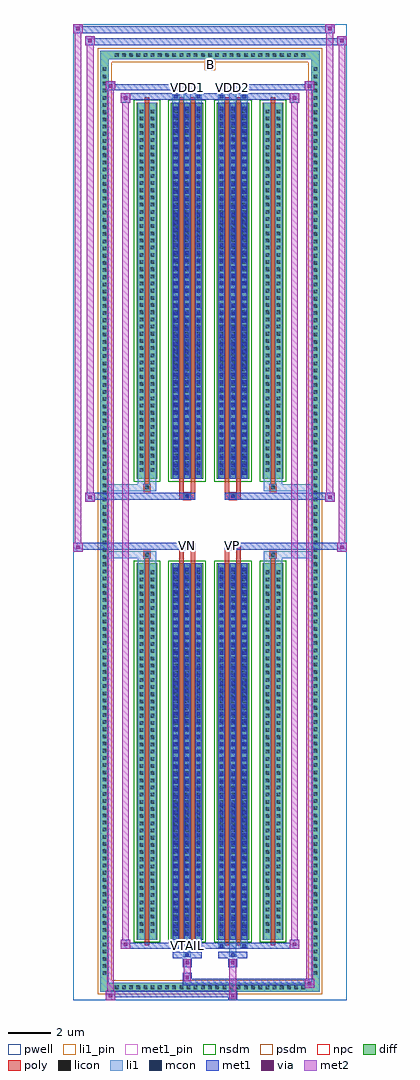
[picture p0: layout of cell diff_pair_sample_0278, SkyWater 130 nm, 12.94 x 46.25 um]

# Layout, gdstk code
import gdstk
lib = gdstk.Library(unit=1e-6, precision=5e-09)
def R(c, l, rs):  # rectangles x0, y0, x1, y1
    for r in rs: c.add(gdstk.rectangle(r[:2], r[2:], *l))
def A(c, l, x, y, w, h, nx, ny, dx, dy):  # array of equal rectangles
    R(c, l, [(x+i*dx, y+j*dy, x+i*dx+w, y+j*dy+h) for i in range(nx) for j in range(ny)])
def P(c, l, *ps):  # polygons
    for p in ps: c.add(gdstk.Polygon(p, *l))
pwell = (64, 44)
diff = (65, 20)
poly = (66, 20)
licon = (66, 44)
li1_pin = (67, 16)
li1 = (67, 20)
mcon = (67, 44)
met1_pin = (68, 16)
met1 = (68, 20)
via = (68, 44)
met2 = (69, 20)
nsdm = (93, 44)
psdm = (94, 20)
npc = (95, 20)

diff_pair_sample_0278 = lib.new_cell('diff_pair_sample_0278')
R(diff_pair_sample_0278, pwell, [(-6.47,-22.69,6.47,23.56), (-3.79,-20.88,-0.01,-0.82), (0.01,-20.88,3.79,-0.82), (-3.79,0.82,-0.01,20.88), (0.01,0.82,3.79,20.88)])
A(diff_pair_sample_0278, diff, -4.625, -22.29, 0.41, 0.41, 27, 2, 0.34, 44.17)
A(diff_pair_sample_0278, diff, -5.2, -21.625, 0.41, 0.41, 1, 127, 0, 0.34)
A(diff_pair_sample_0278, diff, 4.79, -21.625, 0.41, 0.41, 1, 127, 0, 0.34)
R(diff_pair_sample_0278, diff, [(-4.625,-22.29,4.625,-21.88), (-5.2,-21.625,-4.79,21.625), (4.79,-21.625,5.2,21.625), (-3.48,-19.835,-2.49,-2.005), (-1.85,-19.835,-0.32,-2.005), (0.32,-19.835,1.85,-2.005), (2.49,-19.835,3.48,-2.005), (-3.48,2.005,-2.49,19.835), (-1.85,2.005,-0.32,19.835), (0.32,2.005,1.85,19.835), (2.49,2.005,3.48,19.835), (-4.625,21.88,4.625,22.29)])
P(diff_pair_sample_0278, diff, [(5.2,22.29),(-5.2,22.29),(-5.2,-21.88),(-4.79,-21.88),(-4.79,21.88),(4.79,21.88),(4.79,-21.88),(-4.79,-21.88),(-5.2,-21.88),(-5.2,-22.29),(5.2,-22.29)])
R(diff_pair_sample_0278, poly, [(-3.09,-20.085,-2.88,-1.755), (-1.46,-20.085,-1.25,-1.755), (-0.92,-20.085,-0.71,-1.755), (0.71,-20.085,0.92,-1.755), (1.25,-20.085,1.46,-1.755), (2.88,-20.085,3.09,-1.755), (-3.15,-1.755,-2.82,-1.425), (-3.15,-1.755,-2.82,-1.425), (-1.46,-1.755,-1.25,-1.35), (-0.92,-1.755,-0.71,-1.35), (0.71,-1.755,0.92,-1.35), (1.25,-1.755,1.46,-1.35), (2.82,-1.755,3.15,-1.425), (2.82,-1.755,3.15,-1.425), (-1.46,-1.35,-0.71,-1.02), (-1.25,-1.35,-0.92,-1.02), (0.71,-1.35,1.46,-1.02), (0.92,-1.35,1.25,-1.02), (-1.46,1.02,-0.71,1.35), (-1.25,1.02,-0.92,1.35), (0.71,1.02,1.46,1.35), (0.92,1.02,1.25,1.35), (-1.46,1.35,-1.25,1.755), (-0.92,1.35,-0.71,1.755), (0.71,1.35,0.92,1.755), (1.25,1.35,1.46,1.755), (-3.15,1.425,-2.82,1.755), (-3.15,1.425,-2.82,1.755), (2.82,1.425,3.15,1.755), (2.82,1.425,3.15,1.755), (-3.09,1.755,-2.88,20.085), (-1.46,1.755,-1.25,20.085), (-0.92,1.755,-0.71,20.085), (0.71,1.755,0.92,20.085), (1.25,1.755,1.46,20.085), (2.88,1.755,3.09,20.085)])
A(diff_pair_sample_0278, licon, -4.505, -22.17, 0.17, 0.17, 27, 2, 0.34, 44.17)
A(diff_pair_sample_0278, licon, -5.08, -21.505, 0.17, 0.17, 1, 127, 0, 0.34)
A(diff_pair_sample_0278, licon, 4.91, -21.505, 0.17, 0.17, 1, 127, 0, 0.34)
A(diff_pair_sample_0278, licon, -3.34, -19.505, 0.17, 0.17, 1, 51, 0, 0.34)
A(diff_pair_sample_0278, licon, -2.8, -19.505, 0.17, 0.17, 1, 51, 0, 0.34)
A(diff_pair_sample_0278, licon, -1.71, -19.505, 0.17, 0.17, 3, 51, 0.54, 0.34)
A(diff_pair_sample_0278, licon, 0.46, -19.505, 0.17, 0.17, 3, 51, 0.54, 0.34)
A(diff_pair_sample_0278, licon, 2.63, -19.505, 0.17, 0.17, 1, 51, 0, 0.34)
A(diff_pair_sample_0278, licon, 3.17, -19.505, 0.17, 0.17, 1, 51, 0, 0.34)
A(diff_pair_sample_0278, licon, -3.34, 2.335, 0.17, 0.17, 1, 51, 0, 0.34)
A(diff_pair_sample_0278, licon, -2.8, 2.335, 0.17, 0.17, 1, 51, 0, 0.34)
A(diff_pair_sample_0278, licon, -1.71, 2.335, 0.17, 0.17, 3, 51, 0.54, 0.34)
A(diff_pair_sample_0278, licon, 0.46, 2.335, 0.17, 0.17, 3, 51, 0.54, 0.34)
A(diff_pair_sample_0278, licon, 2.63, 2.335, 0.17, 0.17, 1, 51, 0, 0.34)
A(diff_pair_sample_0278, licon, 3.17, 2.335, 0.17, 0.17, 1, 51, 0, 0.34)
R(diff_pair_sample_0278, licon, [(-3.07,-1.675,-2.9,-1.505), (2.9,-1.675,3.07,-1.505), (-1.17,-1.27,-1,-1.1), (1,-1.27,1.17,-1.1), (-1.17,1.1,-1,1.27), (1,1.1,1.17,1.27), (-3.07,1.505,-2.9,1.675), (2.9,1.505,3.07,1.675)])
R(diff_pair_sample_0278, li1_pin, [(-0.25,21.38,0.25,21.88)])
A(diff_pair_sample_0278, li1, -4.585, -22.25, 0.33, 0.33, 27, 2, 0.34, 44.17)
A(diff_pair_sample_0278, li1, -5.16, -21.585, 0.33, 0.33, 1, 127, 0, 0.34)
A(diff_pair_sample_0278, li1, 4.83, -21.585, 0.33, 0.33, 1, 127, 0, 0.34)
A(diff_pair_sample_0278, li1, -1.79, -19.835, 0.33, 17.83, 3, 2, 0.54, 21.84)
A(diff_pair_sample_0278, li1, 0.38, -19.835, 0.33, 17.83, 3, 2, 0.54, 21.84)
A(diff_pair_sample_0278, li1, -1.71, -19.645, 0.17, 0.17, 3, 49, 0.54, 0.36)
A(diff_pair_sample_0278, li1, -1.71, -19.645, 0.17, 17.45, 3, 2, 0.54, 21.84)
A(diff_pair_sample_0278, li1, 0.46, -19.645, 0.17, 0.17, 3, 49, 0.54, 0.36)
A(diff_pair_sample_0278, li1, 0.46, -19.645, 0.17, 17.45, 3, 2, 0.54, 21.84)
A(diff_pair_sample_0278, li1, -3.42, -19.585, 0.33, 0.33, 1, 51, 0, 0.34)
A(diff_pair_sample_0278, li1, -2.88, -19.585, 0.33, 0.33, 1, 51, 0, 0.34)
A(diff_pair_sample_0278, li1, -1.79, -19.585, 0.33, 0.33, 3, 51, 0.54, 0.34)
A(diff_pair_sample_0278, li1, 0.38, -19.585, 0.33, 0.33, 3, 51, 0.54, 0.34)
A(diff_pair_sample_0278, li1, 2.55, -19.585, 0.33, 0.33, 1, 51, 0, 0.34)
A(diff_pair_sample_0278, li1, 3.09, -19.585, 0.33, 0.33, 1, 51, 0, 0.34)
A(diff_pair_sample_0278, li1, -1.71, 2.195, 0.17, 0.17, 3, 49, 0.54, 0.36)
A(diff_pair_sample_0278, li1, 0.46, 2.195, 0.17, 0.17, 3, 49, 0.54, 0.36)
A(diff_pair_sample_0278, li1, -3.42, 2.255, 0.33, 0.33, 1, 51, 0, 0.34)
A(diff_pair_sample_0278, li1, -2.88, 2.255, 0.33, 0.33, 1, 51, 0, 0.34)
A(diff_pair_sample_0278, li1, -1.79, 2.255, 0.33, 0.33, 3, 51, 0.54, 0.34)
A(diff_pair_sample_0278, li1, 0.38, 2.255, 0.33, 0.33, 3, 51, 0.54, 0.34)
A(diff_pair_sample_0278, li1, 2.55, 2.255, 0.33, 0.33, 1, 51, 0, 0.34)
A(diff_pair_sample_0278, li1, 3.09, 2.255, 0.33, 0.33, 1, 51, 0, 0.34)
R(diff_pair_sample_0278, li1, [(-5.2,-22.29,-4.79,-21.88), (-5.2,-22.29,-4.79,-21.88), (-4.79,-22.29,4.79,-21.88), (4.79,-22.29,5.2,-21.88), (4.79,-22.29,5.2,-21.88), (-5.2,-21.88,-4.79,21.88), (4.79,-21.88,5.2,21.88), (-1.25,-20.64,-0.92,-19.835), (-1.17,-20.64,-1,-20.47), (0.92,-20.64,1.25,-19.835), (1,-20.64,1.17,-20.47), (-1.79,-20.21,-1.46,-19.835), (-1.71,-20.21,-1.54,-20.04), (-0.71,-20.21,-0.38,-19.835), (-0.63,-20.21,-0.46,-20.04), (0.38,-20.21,0.71,-19.835), (0.46,-20.21,0.63,-20.04), (1.46,-20.21,1.79,-19.835), (1.54,-20.21,1.71,-20.04), (-3.42,-19.835,-3.09,-2.005), (-2.88,-19.835,-2.55,-2.005), (2.55,-19.835,2.88,-2.005), (3.09,-19.835,3.42,-2.005), (-3.42,-2.005,-3.09,-1.425), (-2.88,-2.005,-2.55,-1.425), (2.55,-2.005,2.88,-1.425), (3.09,-2.005,3.42,-1.425), (-5.2,-1.755,-3.15,-1.425), (-3.42,-1.755,-3.15,-1.425), (-3.15,-1.755,-2.82,-1.425), (-2.82,-1.755,-2.55,-1.425), (2.55,-1.755,2.82,-1.425), (2.82,-1.755,3.15,-1.425), (2.82,-1.755,5.2,-1.425), (3.15,-1.755,3.42,-1.425), (-1.25,-1.35,-0.92,-1.02), (0.92,-1.35,1.25,-1.02), (-1.25,1.02,-0.92,1.35), (0.92,1.02,1.25,1.35), (-5.2,1.425,-3.15,1.755), (-3.42,1.425,-3.15,1.755), (-3.42,1.425,-3.09,2.005), (-3.15,1.425,-2.82,1.755), (-2.88,1.425,-2.55,2.005), (-2.82,1.425,-2.55,1.755), (2.55,1.425,2.82,1.755), (2.55,1.425,2.88,2.005), (2.82,1.425,3.15,1.755), (2.82,1.425,5.2,1.755), (3.09,1.425,3.42,2.005), (3.15,1.425,3.42,1.755), (-3.42,2.005,-3.09,19.835), (-2.88,2.005,-2.55,19.835), (2.55,2.005,2.88,19.835), (3.09,2.005,3.42,19.835), (-1.79,19.835,-1.46,20.21), (-1.25,19.835,-0.92,20.64), (-0.71,19.835,-0.38,20.21), (0.38,19.835,0.71,20.21), (0.92,19.835,1.25,20.64), (1.46,19.835,1.79,20.21), (-1.71,20.04,-1.54,20.21), (-0.63,20.04,-0.46,20.21), (0.46,20.04,0.63,20.21), (1.54,20.04,1.71,20.21), (-1.17,20.47,-1,20.64), (1,20.47,1.17,20.64), (-5.2,21.88,-4.79,22.29), (-5.2,21.88,-4.79,22.29), (-4.79,21.88,4.79,22.29), (4.79,21.88,5.2,22.29), (4.79,21.88,5.2,22.29)])
A(diff_pair_sample_0278, mcon, -1.71, -19.645, 0.17, 0.17, 3, 49, 0.54, 0.36)
A(diff_pair_sample_0278, mcon, 0.46, -19.645, 0.17, 0.17, 3, 49, 0.54, 0.36)
A(diff_pair_sample_0278, mcon, -1.71, 2.195, 0.17, 0.17, 3, 49, 0.54, 0.36)
A(diff_pair_sample_0278, mcon, 0.46, 2.195, 0.17, 0.17, 3, 49, 0.54, 0.36)
R(diff_pair_sample_0278, mcon, [(-1.17,-20.64,-1,-20.47), (1,-20.64,1.17,-20.47), (-1.71,-20.21,-1.54,-20.04), (-0.63,-20.21,-0.46,-20.04), (0.46,-20.21,0.63,-20.04), (1.54,-20.21,1.71,-20.04), (-1.17,-1.27,-1,-1.1), (1,-1.27,1.17,-1.1), (-1.17,1.1,-1,1.27), (1,1.1,1.17,1.27), (-1.71,20.04,-1.54,20.21), (-0.63,20.04,-0.46,20.21), (0.46,20.04,0.63,20.21), (1.54,20.04,1.71,20.21), (-1.17,20.47,-1,20.64), (1,20.47,1.17,20.64)])
R(diff_pair_sample_0278, met1_pin, [(-1.22,-20.25,-0.95,-19.98), (-1.22,-1.29,-0.95,-1.02), (0.95,-1.29,1.22,-1.02), (-1.22,20.43,-0.95,20.7), (0.95,20.43,1.22,20.7)])
A(diff_pair_sample_0278, met1, -1.77, -19.835, 0.29, 17.83, 3, 2, 0.54, 21.84)
A(diff_pair_sample_0278, met1, 0.4, -19.835, 0.29, 17.83, 3, 2, 0.54, 21.84)
A(diff_pair_sample_0278, met1, -1.77, -19.705, 0.29, 0.29, 3, 49, 0.54, 0.36)
A(diff_pair_sample_0278, met1, 0.4, -19.705, 0.29, 0.29, 3, 49, 0.54, 0.36)
A(diff_pair_sample_0278, met1, -1.77, 2.135, 0.29, 0.29, 3, 49, 0.54, 0.36)
A(diff_pair_sample_0278, met1, 0.4, 2.135, 0.29, 0.29, 3, 49, 0.54, 0.36)
R(diff_pair_sample_0278, met1, [(-4.93,-22.69,-4.5,-22.26), (0.87,-22.69,1.3,-22.26), (-4.93,-22.55,1.3,-22.26), (4.5,-22.12,4.93,-21.69), (-1.3,-21.98,4.93,-21.69), (-1.3,-21.84,-0.87,-21.41), (-1.3,-21.13,-0.87,-20.7), (0.87,-21.13,1.3,-20.7), (-1.77,-20.7,-0.4,-20.41), (-1.23,-20.7,-0.94,-20.41), (0.4,-20.7,1.77,-20.41), (0.94,-20.7,1.23,-20.41), (-4.22,-20.27,-3.79,-19.84), (-4.22,-20.27,-1.77,-19.98), (-1.77,-20.27,-1.48,-19.98), (-1.77,-20.27,-0.4,-19.98), (-0.69,-20.27,-0.4,-19.98), (-0.4,-20.27,0.4,-19.98), (0.4,-20.27,0.69,-19.98), (0.4,-20.27,1.77,-19.98), (1.48,-20.27,1.77,-19.98), (1.77,-20.27,4.22,-19.98), (3.79,-20.27,4.22,-19.84), (-6.47,-1.45,-6.04,-1.02), (6.04,-1.45,6.47,-1.02), (-6.47,-1.35,-0.71,-1.02), (-1.46,-1.35,-0.71,-1.02), (0.71,-1.35,1.46,-1.02), (0.71,-1.35,6.47,-1.02), (-1.23,-1.33,-0.94,-1.04), (0.94,-1.33,1.23,-1.04), (-5.9,0.92,-5.47,1.35), (5.47,0.92,5.9,1.35), (-5.9,1.02,-1.46,1.35), (-1.46,1.02,-0.71,1.35), (0.71,1.02,1.46,1.35), (1.46,1.02,5.9,1.35), (-1.23,1.04,-0.94,1.33), (0.94,1.04,1.23,1.33), (-4.22,19.84,-3.79,20.27), (3.79,19.84,4.22,20.27), (-4.22,19.98,-1.77,20.27), (-1.77,19.98,-1.48,20.27), (-1.77,19.98,-0.4,20.27), (-0.69,19.98,-0.4,20.27), (-0.4,19.98,0.4,20.27), (0.4,19.98,0.69,20.27), (0.4,19.98,1.77,20.27), (1.48,19.98,1.77,20.27), (1.77,19.98,4.22,20.27), (-4.93,20.41,-4.5,20.84), (-4.93,20.41,-1.77,20.7), (-1.77,20.41,-0.4,20.7), (-1.23,20.41,-0.94,20.7), (0.4,20.41,1.77,20.7), (0.94,20.41,1.23,20.7), (1.77,20.41,4.93,20.7), (4.5,20.41,4.93,20.84), (-5.9,22.56,-5.47,22.99), (-5.9,22.56,-3.79,22.89), (-3.79,22.56,3.79,22.89), (3.79,22.56,6.47,22.89), (6.04,22.56,6.47,22.99), (-6.47,23.13,-6.04,23.56), (-6.47,23.13,-3.79,23.46), (-3.79,23.13,3.79,23.46), (3.79,23.13,5.9,23.46), (5.47,23.13,5.9,23.56)])
R(diff_pair_sample_0278, via, [(-4.79,-22.55,-4.64,-22.4), (1.01,-22.55,1.16,-22.4), (4.64,-21.98,4.79,-21.83), (-1.16,-21.7,-1.01,-21.55), (-1.16,-20.99,-1.01,-20.84), (1.01,-20.99,1.16,-20.84), (-4.08,-20.13,-3.93,-19.98), (3.93,-20.13,4.08,-19.98), (-6.33,-1.31,-6.18,-1.16), (6.18,-1.31,6.33,-1.16), (-5.76,1.06,-5.61,1.21), (5.61,1.06,5.76,1.21), (-4.08,19.98,-3.93,20.13), (3.93,19.98,4.08,20.13), (-4.79,20.55,-4.64,20.7), (4.64,20.55,4.79,20.7), (-5.76,22.7,-5.61,22.85), (6.18,22.7,6.33,22.85), (-6.33,23.27,-6.18,23.42), (5.61,23.27,5.76,23.42)])
R(diff_pair_sample_0278, met2, [(-4.93,-22.69,-4.5,-22.26), (-4.86,-22.69,-4.57,20.84), (-4.57,-22.69,-4.5,-22.26), (-4.88,-22.64,-4.55,-22.31), (0.92,-22.64,1.25,-22.31), (0.92,-22.31,1.25,-21.08), (4.5,-22.12,4.93,-21.69), (4.57,-22.12,4.86,20.84), (4.86,-22.12,4.93,-21.69), (4.55,-22.07,4.88,-21.74), (-1.25,-21.79,-0.92,-21.46), (-1.25,-21.46,-0.92,-21.08), (-1.25,-21.08,-0.92,-20.75), (0.92,-21.08,1.25,-20.75), (-4.22,-20.27,-3.79,-19.84), (-4.15,-20.27,-3.86,20.27), (-3.86,-20.27,-3.79,-19.84), (3.79,-20.27,4.22,-19.84), (3.86,-20.27,4.15,20.27), (4.15,-20.27,4.22,-19.84), (-4.17,-20.22,-3.84,-19.89), (3.84,-20.22,4.17,-19.89), (-6.47,-1.45,-6.04,-1.02), (-6.42,-1.45,-6.09,23.56), (-6.09,-1.45,-6.04,-1.02), (6.04,-1.45,6.47,-1.02), (6.09,-1.45,6.42,22.99), (6.42,-1.45,6.47,-1.02), (-6.42,-1.4,-6.09,-1.07), (6.09,-1.4,6.42,-1.07), (-5.9,0.92,-5.47,1.35), (-5.85,0.92,-5.52,22.99), (-5.52,0.92,-5.47,1.35), (5.47,0.92,5.9,1.35), (5.52,0.92,5.85,23.56), (5.85,0.92,5.9,1.35), (-5.85,0.97,-5.52,1.3), (5.52,0.97,5.85,1.3), (-4.22,19.84,-3.79,20.27), (-3.86,19.84,-3.79,20.27), (3.79,19.84,4.22,20.27), (4.15,19.84,4.22,20.27), (-4.17,19.89,-3.84,20.22), (3.84,19.89,4.17,20.22), (-4.93,20.41,-4.5,20.84), (-4.57,20.41,-4.5,20.84), (4.5,20.41,4.93,20.84), (4.86,20.41,4.93,20.84), (-4.88,20.46,-4.55,20.79), (4.55,20.46,4.88,20.79), (-5.9,22.56,-5.47,22.99), (-5.52,22.56,-5.47,22.99), (6.04,22.56,6.47,22.99), (6.42,22.56,6.47,22.99), (-5.85,22.61,-5.52,22.94), (6.09,22.61,6.42,22.94), (-6.47,23.13,-6.04,23.56), (-6.09,23.13,-6.04,23.56), (5.47,23.13,5.9,23.56), (5.85,23.13,5.9,23.56), (-6.42,23.18,-6.09,23.51), (5.52,23.18,5.85,23.51)])
R(diff_pair_sample_0278, nsdm, [(-3.61,-19.965,-2.36,-1.875), (-1.98,-19.965,-0.19,-1.875), (0.19,-19.965,1.98,-1.875), (2.36,-19.965,3.61,-1.875), (-3.61,1.875,-2.36,19.965), (-1.98,1.875,-0.19,19.965), (0.19,1.875,1.98,19.965), (2.36,1.875,3.61,19.965)])
P(diff_pair_sample_0278, psdm, [(5.33,22.42),(-5.33,22.42),(-5.33,-21.75),(-4.66,-21.75),(-4.66,21.75),(4.66,21.75),(4.66,-21.75),(-4.66,-21.75),(-5.33,-21.75),(-5.33,-22.42),(5.33,-22.42)])
R(diff_pair_sample_0278, npc, [(-3.17,-1.775,-2.8,-1.405), (2.8,-1.775,3.17,-1.405), (-1.27,-1.37,-0.9,-1), (0.9,-1.37,1.27,-1), (-1.27,1,-0.9,1.37), (0.9,1,1.27,1.37), (-3.17,1.405,-2.8,1.775), (2.8,1.405,3.17,1.775)])
diff_pair_sample_0278.add(gdstk.Label('VTAIL', (-1.085,-20.115), layer=68, texttype=5))
diff_pair_sample_0278.add(gdstk.Label('VN', (-1.085,-1.155), layer=68, texttype=5))
diff_pair_sample_0278.add(gdstk.Label('VP', (1.085,-1.155), layer=68, texttype=5))
diff_pair_sample_0278.add(gdstk.Label('B', (0,21.63), layer=67, texttype=5))
diff_pair_sample_0278.add(gdstk.Label('VDD2', (1.085,20.565), layer=68, texttype=5))
diff_pair_sample_0278.add(gdstk.Label('VDD1', (-1.085,20.565), layer=68, texttype=5))

lib.write_gds('diff_pair_sample_0278.gds')
